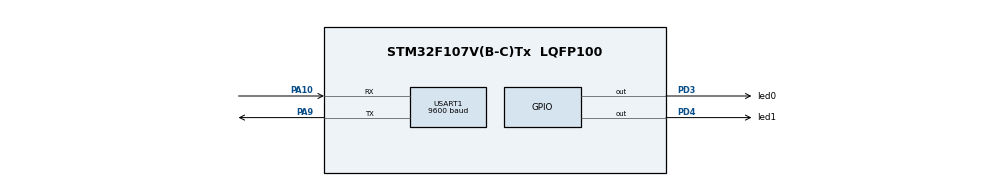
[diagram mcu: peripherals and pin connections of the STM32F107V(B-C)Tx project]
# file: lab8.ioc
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Mcu.Family=STM32F1
Mcu.Name=STM32F107V(B-C)Tx
Mcu.Package=LQFP100
NVIC.PriorityGroup=NVIC_PRIORITYGROUP_4
PA10.Mode=Asynchronous
PA10.Signal=USART1_RX
PA13.Mode=Serial_Wire
PA13.Signal=SYS_JTMS-SWDIO
PA14.Mode=Serial_Wire
PA14.Signal=SYS_JTCK-SWCLK
PA9.Mode=Asynchronous
PA9.Signal=USART1_TX
PD3.GPIO_Label=led0
PD3.Signal=GPIO_Output
PD4.GPIO_Label=led1
PD4.Signal=GPIO_Output
ProjectManager.HeapSize=0x200
ProjectManager.StackSize=0x400
ProjectManager.TargetToolchain=MDK-ARM V5.32
RCC.USBFreq_Value=10666666.666666666
USART1.BaudRate=9600
USART1.VirtualMode=VM_ASYNC
board=custom

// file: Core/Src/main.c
/* USER CODE BEGIN Header */
/**
  ******************************************************************************
  * @file           : main.c
  * @brief          : Main program body
  ******************************************************************************
  * @attention
  *
  * Copyright (c) 2025 STMicroelectronics.
  * All rights reserved.
  *
  * This software is licensed under terms that can be found in the LICENSE file
  * in the root directory of this software component.
  * If no LICENSE file comes with this software, it is provided AS-IS.
  *
  ******************************************************************************
  */
/* USER CODE END Header */
#include "main.h"

UART_HandleTypeDef huart1;

void SystemClock_Config(void);
static void MX_GPIO_Init(void);
static void MX_USART1_UART_Init(void);
/* USER CODE BEGIN PFP */
	int is_green_on = 0;
	int is_red_on = 0;

void toggle_led(char led) {
    if (led == 'g') {
        if (is_green_on) {
            HAL_GPIO_WritePin(led0_GPIO_Port, led0_Pin, GPIO_PIN_RESET);
            is_green_on = 0;
        } else {
            HAL_GPIO_WritePin(led0_GPIO_Port, led0_Pin, GPIO_PIN_SET);
            is_green_on = 1;
        }
    } else if (led == 'r') {
        if (is_red_on) {
            HAL_GPIO_WritePin(led1_GPIO_Port, led1_Pin,GPIO_PIN_RESET);
            is_red_on = 0;
        } else {
            HAL_GPIO_WritePin(led1_GPIO_Port, led1_Pin, GPIO_PIN_SET);
            is_red_on = 1;
        }
    } else {
        HAL_UART_Transmit(&huart1, (uint8_t *)"Invalid input!\n", 15, HAL_MAX_DELAY);
    }
}
/* USER CODE END PFP */

int main(void)
{

  /* MCU Configuration--------------------------------------------------------*/

  /* Reset of all peripherals, Initializes the Flash interface and the Systick. */
  HAL_Init();

  /* Configure the system clock */
  SystemClock_Config();

  /* Initialize all configured peripherals */
  MX_GPIO_Init();
  MX_USART1_UART_Init();
  /* USER CODE BEGIN 2 */
	uint8_t data[1];
  /* USER CODE END 2 */

  /* Infinite loop */
  /* USER CODE BEGIN WHILE */
  while (1)
  {
		HAL_UART_Transmit(&huart1, data, sizeof(data), HAL_MAX_DELAY);
		HAL_Delay(500);
		HAL_UART_Receive(&huart1, data, sizeof(data), HAL_MAX_DELAY);
		toggle_led((char)data[0]);
    /* USER CODE END WHILE */

  }
}

void SystemClock_Config(void)
{
  RCC_OscInitTypeDef RCC_OscInitStruct = {0};
  RCC_ClkInitTypeDef RCC_ClkInitStruct = {0};

  /** Initializes the RCC Oscillators according to the specified parameters
  * in the RCC_OscInitTypeDef structure.
  */
  RCC_OscInitStruct.OscillatorType = RCC_OSCILLATORTYPE_HSI;
  RCC_OscInitStruct.HSIState = RCC_HSI_ON;
  RCC_OscInitStruct.HSICalibrationValue = RCC_HSICALIBRATION_DEFAULT;
  RCC_OscInitStruct.PLL.PLLState = RCC_PLL_NONE;
  RCC_OscInitStruct.PLL2.PLL2State = RCC_PLL_NONE;
  if (HAL_RCC_OscConfig(&RCC_OscInitStruct) != HAL_OK)
  {
    Error_Handler();
  }

  /** Initializes the CPU, AHB and APB buses clocks
  */
  RCC_ClkInitStruct.ClockType = RCC_CLOCKTYPE_HCLK|RCC_CLOCKTYPE_SYSCLK
                              |RCC_CLOCKTYPE_PCLK1|RCC_CLOCKTYPE_PCLK2;
  RCC_ClkInitStruct.SYSCLKSource = RCC_SYSCLKSOURCE_HSI;
  RCC_ClkInitStruct.AHBCLKDivider = RCC_SYSCLK_DIV1;
  RCC_ClkInitStruct.APB1CLKDivider = RCC_HCLK_DIV1;
  RCC_ClkInitStruct.APB2CLKDivider = RCC_HCLK_DIV1;

  if (HAL_RCC_ClockConfig(&RCC_ClkInitStruct, FLASH_LATENCY_0) != HAL_OK)
  {
    Error_Handler();
  }

  /** Configure the Systick interrupt time
  */
  __HAL_RCC_PLLI2S_ENABLE();
}

static void MX_USART1_UART_Init(void)
{

  huart1.Instance = USART1;
  huart1.Init.BaudRate = 9600;
  huart1.Init.WordLength = UART_WORDLENGTH_8B;
  huart1.Init.StopBits = UART_STOPBITS_1;
  huart1.Init.Parity = UART_PARITY_NONE;
  huart1.Init.Mode = UART_MODE_TX_RX;
  huart1.Init.HwFlowCtl = UART_HWCONTROL_NONE;
  huart1.Init.OverSampling = UART_OVERSAMPLING_16;
  if (HAL_UART_Init(&huart1) != HAL_OK)
  {
    Error_Handler();
  }

}

static void MX_GPIO_Init(void)
{
  GPIO_InitTypeDef GPIO_InitStruct = {0};

  /* GPIO Ports Clock Enable */
  __HAL_RCC_GPIOA_CLK_ENABLE();
  __HAL_RCC_GPIOD_CLK_ENABLE();

  /*Configure GPIO pin Output Level */
  HAL_GPIO_WritePin(GPIOD, led0_Pin|led1_Pin, GPIO_PIN_RESET);

  /*Configure GPIO pins : led0_Pin led1_Pin */
  GPIO_InitStruct.Pin = led0_Pin|led1_Pin;
  GPIO_InitStruct.Mode = GPIO_MODE_OUTPUT_PP;
  GPIO_InitStruct.Pull = GPIO_NOPULL;
  GPIO_InitStruct.Speed = GPIO_SPEED_FREQ_LOW;
  HAL_GPIO_Init(GPIOD, &GPIO_InitStruct);

}

void Error_Handler(void)
{
  __disable_irq();
  while (1)
  {
  }
}
